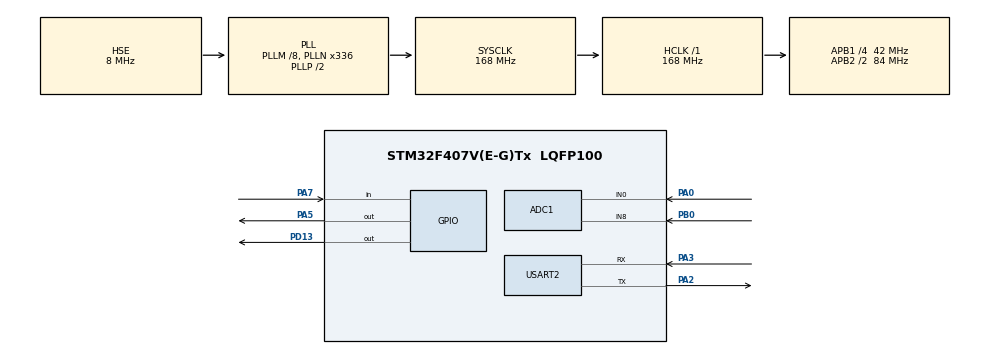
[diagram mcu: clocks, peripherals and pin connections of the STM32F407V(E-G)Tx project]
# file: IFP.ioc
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ADC1.Channel-1\#ChannelRegularConversion=ADC_CHANNEL_8
ADC1.NbrOfConversion=1
ADC1.NbrOfConversionFlag=1
ADC1.Rank-1\#ChannelRegularConversion=1
ADC1.SamplingTime-1\#ChannelRegularConversion=ADC_SAMPLETIME_15CYCLES
ADC1.ScanConvMode=ENABLE
ADC1.master=1
Mcu.Family=STM32F4
Mcu.Name=STM32F407V(E-G)Tx
Mcu.Package=LQFP100
NVIC.PriorityGroup=NVIC_PRIORITYGROUP_0
PA0-WKUP.Signal=ADCx_IN0
PA2.Mode=Asynchronous
PA2.Signal=USART2_TX
PA3.Mode=Asynchronous
PA3.Signal=USART2_RX
PA5.Signal=GPIO_Output
PA7.Signal=GPIO_Input
PB0.Signal=ADCx_IN8
PD13.Signal=GPIO_Output
PH0-OSC_IN.Mode=HSE-External-Oscillator
PH0-OSC_IN.Signal=RCC_OSC_IN
PH1-OSC_OUT.Mode=HSE-External-Oscillator
PH1-OSC_OUT.Signal=RCC_OSC_OUT
ProjectManager.HeapSize=0x200
ProjectManager.StackSize=0x400
ProjectManager.TargetToolchain=STM32CubeIDE
RCC.48MHZClocksFreq_Value=48000000
RCC.AHBFreq_Value=168000000
RCC.APB1CLKDivider=RCC_HCLK_DIV4
RCC.APB1Freq_Value=42000000
RCC.APB1TimFreq_Value=84000000
RCC.APB2CLKDivider=RCC_HCLK_DIV2
RCC.APB2Freq_Value=84000000
RCC.APB2TimFreq_Value=168000000
RCC.CortexFreq_Value=168000000
RCC.HCLKFreq_Value=168000000
RCC.HSE_VALUE=8000000
RCC.HSI_VALUE=16000000
RCC.LSE_VALUE=32768
RCC.PLLM=8
RCC.PLLN=336
RCC.PLLQ=7
RCC.PLLSourceVirtual=RCC_PLLSOURCE_HSE
RCC.SYSCLKFreq_VALUE=168000000
RCC.SYSCLKSource=RCC_SYSCLKSOURCE_PLLCLK
RCC.VCOOutputFreq_Value=336000000
SH.ADCx_IN0.0=ADC1_IN0,IN0
SH.ADCx_IN8.0=ADC1_IN8,IN8
USART2.VirtualMode=VM_ASYNC
board=STM32F407G-DISC1

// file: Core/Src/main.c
/* USER CODE BEGIN Header */
/**
  ******************************************************************************
  * @file           : main.c
  * @brief          : Main program body
  ******************************************************************************
  * @attention
  *
  * Copyright (c) 2025 STMicroelectronics.
  * All rights reserved.
  *
  * This software is licensed under terms that can be found in the LICENSE file
  * in the root directory of this software component.
  * If no LICENSE file comes with this software, it is provided AS-IS.
  *
  ******************************************************************************
  */
/* USER CODE END Header */
#include "main.h"
#include <string.h>
#include <stdio.h>
#include "stm32f4xx_hal.h"

/* USER CODE BEGIN Includes */
void DWT_Delay_Init(void);
void DWT_Delay_us(volatile uint32_t microseconds);
uint32_t Read_HCSR04_Distance(void);
float Read_Potentiometer(void);
/* USER CODE END Includes */

ADC_HandleTypeDef hadc1;
UART_HandleTypeDef huart2;

void SystemClock_Config(void);
static void MX_GPIO_Init(void);
static void MX_ADC1_Init(void);
static void MX_USART2_UART_Init(void);

int main(void)
{
  HAL_Init();
  SystemClock_Config();
  DWT_Delay_Init();
  MX_GPIO_Init();
  MX_ADC1_Init();
  MX_USART2_UART_Init();

  while (1)
  {
      char msg[100];
      float pot = Read_Potentiometer();

      snprintf(msg, sizeof(msg), "Potentiometer Voltage: %.2f V\r\n", pot);
      HAL_UART_Transmit(&huart2, (uint8_t*)msg, strlen(msg), HAL_MAX_DELAY);

      uint32_t distance = Read_HCSR04_Distance();
      char msg2[100];

      snprintf(msg2, sizeof(msg2), "Ultrasonic: %lu cm\r\n", distance);
      HAL_UART_Transmit(&huart2, (uint8_t*)msg2, strlen(msg2), HAL_MAX_DELAY);

      HAL_Delay(1000); // 1 second delay
  }
}

void DWT_Delay_Init(void)
{
    CoreDebug->DEMCR |= CoreDebug_DEMCR_TRCENA_Msk;
    DWT->CTRL |= DWT_CTRL_CYCCNTENA_Msk;
}

void DWT_Delay_us(volatile uint32_t microseconds)
{
    uint32_t clk_cycle_start = DWT->CYCCNT;
    microseconds *= (HAL_RCC_GetHCLKFreq() / 1000000);
    while ((DWT->CYCCNT - clk_cycle_start) < microseconds);
}

void SystemClock_Config(void)
{
  RCC_OscInitTypeDef RCC_OscInitStruct = {0};
  RCC_ClkInitTypeDef RCC_ClkInitStruct = {0};

  __HAL_RCC_PWR_CLK_ENABLE();
  __HAL_PWR_VOLTAGESCALING_CONFIG(PWR_REGULATOR_VOLTAGE_SCALE1);
  RCC_OscInitStruct.OscillatorType = RCC_OSCILLATORTYPE_HSE;
  RCC_OscInitStruct.HSEState = RCC_HSE_ON;
  RCC_OscInitStruct.PLL.PLLState = RCC_PLL_ON;
  RCC_OscInitStruct.PLL.PLLSource = RCC_PLLSOURCE_HSE;
  RCC_OscInitStruct.PLL.PLLM = 8;
  RCC_OscInitStruct.PLL.PLLN = 336;
  RCC_OscInitStruct.PLL.PLLP = RCC_PLLP_DIV2;
  RCC_OscInitStruct.PLL.PLLQ = 7;
  if (HAL_RCC_OscConfig(&RCC_OscInitStruct) != HAL_OK)
  {
    Error_Handler();
  }
  RCC_ClkInitStruct.ClockType = RCC_CLOCKTYPE_HCLK|RCC_CLOCKTYPE_SYSCLK
                              |RCC_CLOCKTYPE_PCLK1|RCC_CLOCKTYPE_PCLK2;
  RCC_ClkInitStruct.SYSCLKSource = RCC_SYSCLKSOURCE_PLLCLK;
  RCC_ClkInitStruct.AHBCLKDivider = RCC_SYSCLK_DIV1;
  RCC_ClkInitStruct.APB1CLKDivider = RCC_HCLK_DIV4;
  RCC_ClkInitStruct.APB2CLKDivider = RCC_HCLK_DIV2;

  if (HAL_RCC_ClockConfig(&RCC_ClkInitStruct, FLASH_LATENCY_5) != HAL_OK)
  {
    Error_Handler();
  }
}

static void MX_ADC1_Init(void)
{
  ADC_ChannelConfTypeDef sConfig = {0};

  hadc1.Instance = ADC1;
  hadc1.Init.ClockPrescaler = ADC_CLOCK_SYNC_PCLK_DIV4;
  hadc1.Init.Resolution = ADC_RESOLUTION_12B;
  hadc1.Init.ScanConvMode = ENABLE;
  hadc1.Init.ContinuousConvMode = DISABLE;
  hadc1.Init.DiscontinuousConvMode = DISABLE;
  hadc1.Init.ExternalTrigConvEdge = ADC_EXTERNALTRIGCONVEDGE_NONE;
  hadc1.Init.ExternalTrigConv = ADC_SOFTWARE_START;
  hadc1.Init.DataAlign = ADC_DATAALIGN_RIGHT;
  hadc1.Init.NbrOfConversion = 1;
  hadc1.Init.DMAContinuousRequests = DISABLE;
  hadc1.Init.EOCSelection = ADC_EOC_SINGLE_CONV;
  if (HAL_ADC_Init(&hadc1) != HAL_OK)
  {
    Error_Handler();
  }

  sConfig.Channel = ADC_CHANNEL_8;
  sConfig.Rank = 1;
  sConfig.SamplingTime = ADC_SAMPLETIME_15CYCLES;
  if (HAL_ADC_ConfigChannel(&hadc1, &sConfig) != HAL_OK)
  {
    Error_Handler();
  }
}

static void MX_USART2_UART_Init(void)
{
  huart2.Instance = USART2;
  huart2.Init.BaudRate = 115200;
  huart2.Init.WordLength = UART_WORDLENGTH_8B;
  huart2.Init.StopBits = UART_STOPBITS_1;
  huart2.Init.Parity = UART_PARITY_NONE;
  huart2.Init.Mode = UART_MODE_TX_RX;
  huart2.Init.HwFlowCtl = UART_HWCONTROL_NONE;
  huart2.Init.OverSampling = UART_OVERSAMPLING_16;
  if (HAL_UART_Init(&huart2) != HAL_OK)
  {
    Error_Handler();
  }
}

static void MX_GPIO_Init(void)
{
  GPIO_InitTypeDef GPIO_InitStruct = {0};

  __HAL_RCC_GPIOH_CLK_ENABLE();
  __HAL_RCC_GPIOA_CLK_ENABLE();
  __HAL_RCC_GPIOB_CLK_ENABLE();
  __HAL_RCC_GPIOD_CLK_ENABLE();

  HAL_GPIO_WritePin(GPIOA, GPIO_PIN_5, GPIO_PIN_RESET);
  HAL_GPIO_WritePin(GPIOD, GPIO_PIN_13, GPIO_PIN_RESET);

  /* PA5 - Trigger Output */
  GPIO_InitStruct.Pin = GPIO_PIN_5;
  GPIO_InitStruct.Mode = GPIO_MODE_OUTPUT_PP;
  GPIO_InitStruct.Pull = GPIO_NOPULL;
  GPIO_InitStruct.Speed = GPIO_SPEED_FREQ_LOW;
  HAL_GPIO_Init(GPIOA, &GPIO_InitStruct);

  /* PA7 - Echo Input (was PA6 before) */
  GPIO_InitStruct.Pin = GPIO_PIN_7;
  GPIO_InitStruct.Mode = GPIO_MODE_INPUT;
  GPIO_InitStruct.Pull = GPIO_NOPULL;
  HAL_GPIO_Init(GPIOA, &GPIO_InitStruct);

  GPIO_InitStruct.Pin = GPIO_PIN_13;
  GPIO_InitStruct.Mode = GPIO_MODE_OUTPUT_PP;
  GPIO_InitStruct.Pull = GPIO_NOPULL;
  GPIO_InitStruct.Speed = GPIO_SPEED_FREQ_LOW;
  HAL_GPIO_Init(GPIOD, &GPIO_InitStruct);
}

/* USER CODE BEGIN 4 */
uint32_t Read_HCSR04_Distance(void)
{
    uint32_t start, stop;
    uint32_t timeout = 1000000;

    HAL_GPIO_WritePin(GPIOA, GPIO_PIN_5, GPIO_PIN_RESET);
    DWT_Delay_us(2);
    HAL_GPIO_WritePin(GPIOA, GPIO_PIN_5, GPIO_PIN_SET);
    DWT_Delay_us(10);
    HAL_GPIO_WritePin(GPIOA, GPIO_PIN_5, GPIO_PIN_RESET);

    // Wait for echo pin (PA7) to go high
    while (!HAL_GPIO_ReadPin(GPIOA, GPIO_PIN_7))
    {
        if (timeout-- == 0)
            return 0;
    }
    start = DWT->CYCCNT;

    timeout = 1000000;
    while (HAL_GPIO_ReadPin(GPIOA, GPIO_PIN_7))
    {
        if (timeout-- == 0)
            return 0;
    }
    stop = DWT->CYCCNT;

    uint32_t us = (stop - start) / (HAL_RCC_GetHCLKFreq() / 1000000);
    return us / 58;
}

float Read_Potentiometer(void)
{
    HAL_ADC_Start(&hadc1);
    HAL_ADC_PollForConversion(&hadc1, HAL_MAX_DELAY);
    uint32_t adc_val = HAL_ADC_GetValue(&hadc1);
    HAL_ADC_Stop(&hadc1);
    float voltage = (adc_val * 3.0f) / 4095.0f;
    return voltage;
}
/* USER CODE END 4 */

void Error_Handler(void)
{
  __disable_irq();
  while (1) {}
}
